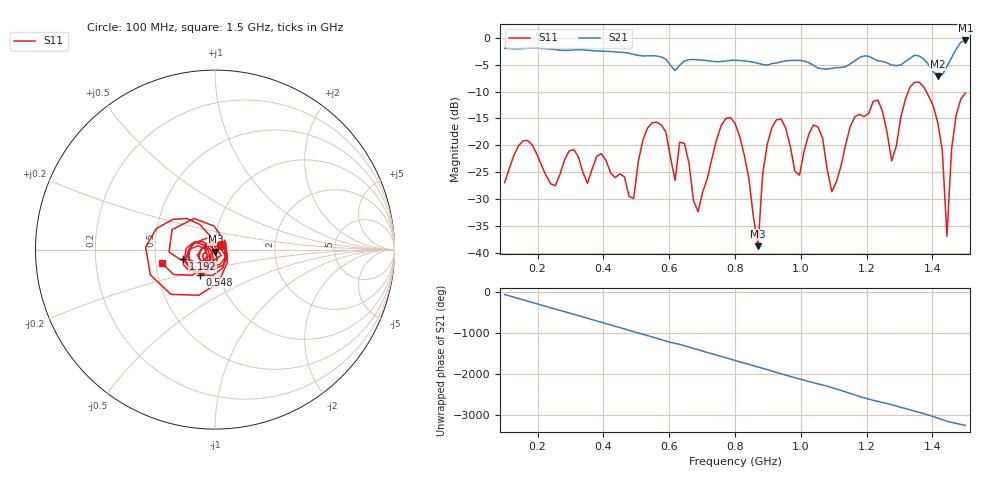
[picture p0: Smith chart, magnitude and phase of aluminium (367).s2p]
! NanoVNA-App
! Date: 2025-09-25 14:58:08
! Start: 100MHz Stop: 1,5GHz Points: 101
! S-Parameter data: F S11 S21 S12 S22
# Hz S RI R 50
!  Frequency  S11_Real  S11_Imag  S21_Real  S21_Imag  S12_Real  S12_Imag  S22_Real  S22_Imag
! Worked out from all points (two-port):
!   101 points, 100 MHz to 1.5 GHz, reference 50 ohm
!   highest |S21| = -0.47 dB at 1.5 GHz (marker M1); lowest = -7.2 dB at 1.416 GHz (marker M2)
!   |S21| within 3 dB of the highest: start of sweep to 570.7 MHz; 1.46 GHz to end of sweep (the widest 2 of 4)
!   lowest |S11| = -38.8 dB at 870 MHz (marker M3), VSWR 1.02, Z = 50.2 - j1.14 ohm
!   |S11| at or under -10 dB: start of sweep to 1.327 GHz; 1.381 GHz to end of sweep
!   S12 and S22 are empty: the file has one direction only
!   S11 on the Smith chart (normalised r, x): 100 MHz: 1.07, +0.06; 548 MHz: 0.82, -0.23; 1.192 GHz: 0.69, -0.07; 1.5 GHz: 0.54, -0.09
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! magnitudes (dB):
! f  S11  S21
! 100 MHz  -27.0  -1.9
! 156 MHz  -19.2  -2.0
! 338 MHz  -25.1  -2.2
! 492 MHz  -29.9  -3.1
! 548 MHz  -15.8  -3.3
! 576 MHz  -16.2  -3.5
! 646 MHz  -19.6  -4.3
! 688 MHz  -32.3  -4.1
! 800 MHz  -15.9  -4.1
! 870 MHz  -38.8  -4.7
! 912 MHz  -16.7  -4.8
! 996 MHz  -25.6  -4.2
! 1.038 GHz  -16.2  -5.1
! 1.094 GHz  -28.6  -5.7
! 1.192 GHz  -14.6  -3.4
! 1.234 GHz  -11.6  -4.3
! 1.276 GHz  -22.9  -5.1
! 1.346 GHz  -8.3  -3.2
! 1.416 GHz  -15.7  -7.2
! 1.444 GHz  -36.9  -5.3
! 1.458 GHz  -20.7  -3.7
! 1.5 GHz  -10.3  -0.5
